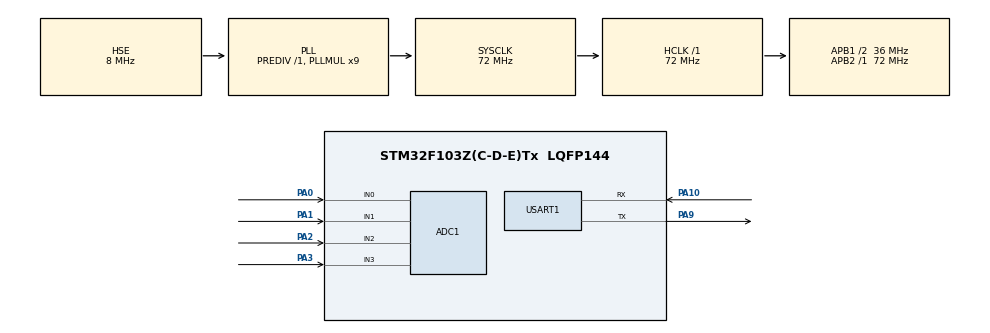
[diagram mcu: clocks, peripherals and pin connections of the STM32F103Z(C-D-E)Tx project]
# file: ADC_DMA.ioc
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ADC1.Channel-0\#ChannelRegularConversion=ADC_CHANNEL_0
ADC1.Channel-1\#ChannelRegularConversion=ADC_CHANNEL_1
ADC1.Channel-2\#ChannelRegularConversion=ADC_CHANNEL_2
ADC1.Channel-3\#ChannelRegularConversion=ADC_CHANNEL_3
ADC1.ContinuousConvMode=DISABLE
ADC1.DiscontinuousConvMode=DISABLE
ADC1.EnableAnalogWatchDog=false
ADC1.NbrOfConversion=4
ADC1.NbrOfConversionFlag=1
ADC1.Rank-0\#ChannelRegularConversion=1
ADC1.Rank-1\#ChannelRegularConversion=2
ADC1.Rank-2\#ChannelRegularConversion=3
ADC1.Rank-3\#ChannelRegularConversion=4
ADC1.SamplingTime-0\#ChannelRegularConversion=ADC_SAMPLETIME_55CYCLES_5
ADC1.SamplingTime-1\#ChannelRegularConversion=ADC_SAMPLETIME_55CYCLES_5
ADC1.SamplingTime-2\#ChannelRegularConversion=ADC_SAMPLETIME_55CYCLES_5
ADC1.SamplingTime-3\#ChannelRegularConversion=ADC_SAMPLETIME_55CYCLES_5
ADC1.master=1
Dma.ADC1.0.Direction=DMA_PERIPH_TO_MEMORY
Dma.ADC1.0.Instance=DMA1_Channel1
Dma.ADC1.0.MemDataAlignment=DMA_MDATAALIGN_HALFWORD
Dma.ADC1.0.MemInc=DMA_MINC_ENABLE
Dma.ADC1.0.Mode=DMA_CIRCULAR
Dma.ADC1.0.PeriphDataAlignment=DMA_PDATAALIGN_HALFWORD
Dma.ADC1.0.PeriphInc=DMA_PINC_DISABLE
Dma.ADC1.0.Priority=DMA_PRIORITY_MEDIUM
Dma.Request0=ADC1
FREERTOS.Tasks01=defaultTask,0,128,StartDefaultTask,Default,NULL,Dynamic,NULL,NULL
Mcu.Family=STM32F1
Mcu.Name=STM32F103Z(C-D-E)Tx
Mcu.Package=LQFP144
NVIC.DMA1_Channel1_IRQn=true\:5\:0\:false\:false\:true\:true\:false\:true
NVIC.PriorityGroup=NVIC_PRIORITYGROUP_4
NVIC.TIM1_UP_IRQn=true\:15\:0\:false\:false\:true\:false\:false\:true
NVIC.TimeBase=TIM1_UP_IRQn
NVIC.TimeBaseIP=TIM1
OSC_IN.Mode=HSE-External-Oscillator
OSC_IN.Signal=RCC_OSC_IN
OSC_OUT.Mode=HSE-External-Oscillator
OSC_OUT.Signal=RCC_OSC_OUT
PA0-WKUP.Signal=ADCx_IN0
PA1.Signal=ADCx_IN1
PA10.Mode=Asynchronous
PA10.Signal=USART1_RX
PA13.Mode=Serial_Wire
PA13.Signal=SYS_JTMS-SWDIO
PA14.Mode=Serial_Wire
PA14.Signal=SYS_JTCK-SWCLK
PA2.Signal=ADCx_IN2
PA3.Signal=ADCx_IN3
PA9.Mode=Asynchronous
PA9.Signal=USART1_TX
ProjectManager.HeapSize=0x200
ProjectManager.StackSize=0x400
ProjectManager.TargetToolchain=MDK-ARM V5.32
RCC.ADCPresc=RCC_ADCPCLK2_DIV6
RCC.AHBFreq_Value=72000000
RCC.APB1CLKDivider=RCC_HCLK_DIV2
RCC.APB1Freq_Value=36000000
RCC.APB1TimFreq_Value=72000000
RCC.APB2Freq_Value=72000000
RCC.APB2TimFreq_Value=72000000
RCC.HCLKFreq_Value=72000000
RCC.PLLMUL=RCC_PLL_MUL9
RCC.PLLSourceVirtual=RCC_PLLSOURCE_HSE
RCC.SYSCLKFreq_VALUE=72000000
RCC.SYSCLKSource=RCC_SYSCLKSOURCE_PLLCLK
RCC.USBFreq_Value=72000000
SH.ADCx_IN0.0=ADC1_IN0,IN0
SH.ADCx_IN1.0=ADC1_IN1,IN1
SH.ADCx_IN2.0=ADC1_IN2,IN2
SH.ADCx_IN3.0=ADC1_IN3,IN3
USART1.VirtualMode=VM_ASYNC
VP_FREERTOS_VS_CMSIS_V1.Mode=CMSIS_V1
VP_SYS_VS_tim1.Mode=TIM1
board=custom

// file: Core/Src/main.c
/* USER CODE BEGIN Header */
/**
  ******************************************************************************
  * @file           : main.c 采用的是ADC DMA单通道轮循的方式,一次采集1024个点的电压值
  * @brief          : Main program body
  ******************************************************************************
  * @attention
  *
  * Copyright (c) 2023 STMicroelectronics.
  * All rights reserved.
  *
  * This software is licensed under terms that can be found in the LICENSE file
  * in the root directory of this software component.
  * If no LICENSE file comes with this software, it is provided AS-IS.
  *
  ******************************************************************************
  */
/* USER CODE END Header */
#include "main.h"
#include "cmsis_os.h"

void SystemClock_Config(void);
void MX_FREERTOS_Init(void);
/* USER CODE BEGIN PFP */
extern uint16_t adcx[];
/* USER CODE END PFP */

int main(void)
{

  /* MCU Configuration--------------------------------------------------------*/

  /* Reset of all peripherals, Initializes the Flash interface and the Systick. */
  HAL_Init();

  /* Configure the system clock */
  SystemClock_Config();

  /* Initialize all configured peripherals */
  MX_GPIO_Init();
  MX_DMA_Init();
  MX_ADC1_Init();
  MX_USART1_UART_Init();
  /* USER CODE BEGIN 2 */
	HAL_ADCEx_Calibration_Start(&hadc1);//开启自动校准
	HAL_Delay(100);
	HAL_ADC_Start_DMA(&hadc1,(uint32_t*)adcx,4);
	my_printf(1,"  ok\r\n");

  /* USER CODE END 2 */

  /* Call init function for freertos objects (in freertos.c) */
  MX_FREERTOS_Init();
  /* Start scheduler */
  osKernelStart();

  /* We should never get here as control is now taken by the scheduler */
  /* Infinite loop */
  while (1)
  {
  }
}

void SystemClock_Config(void)
{
  RCC_OscInitTypeDef RCC_OscInitStruct = {0};
  RCC_ClkInitTypeDef RCC_ClkInitStruct = {0};
  RCC_PeriphCLKInitTypeDef PeriphClkInit = {0};

  /** Initializes the RCC Oscillators according to the specified parameters
  * in the RCC_OscInitTypeDef structure.
  */
  RCC_OscInitStruct.OscillatorType = RCC_OSCILLATORTYPE_HSE;
  RCC_OscInitStruct.HSEState = RCC_HSE_ON;
  RCC_OscInitStruct.HSEPredivValue = RCC_HSE_PREDIV_DIV1;
  RCC_OscInitStruct.HSIState = RCC_HSI_ON;
  RCC_OscInitStruct.PLL.PLLState = RCC_PLL_ON;
  RCC_OscInitStruct.PLL.PLLSource = RCC_PLLSOURCE_HSE;
  RCC_OscInitStruct.PLL.PLLMUL = RCC_PLL_MUL9;
  if (HAL_RCC_OscConfig(&RCC_OscInitStruct) != HAL_OK)
  {
    Error_Handler();
  }
  /** Initializes the CPU, AHB and APB buses clocks
  */
  RCC_ClkInitStruct.ClockType = RCC_CLOCKTYPE_HCLK|RCC_CLOCKTYPE_SYSCLK
                              |RCC_CLOCKTYPE_PCLK1|RCC_CLOCKTYPE_PCLK2;
  RCC_ClkInitStruct.SYSCLKSource = RCC_SYSCLKSOURCE_PLLCLK;
  RCC_ClkInitStruct.AHBCLKDivider = RCC_SYSCLK_DIV1;
  RCC_ClkInitStruct.APB1CLKDivider = RCC_HCLK_DIV2;
  RCC_ClkInitStruct.APB2CLKDivider = RCC_HCLK_DIV1;

  if (HAL_RCC_ClockConfig(&RCC_ClkInitStruct, FLASH_LATENCY_2) != HAL_OK)
  {
    Error_Handler();
  }
  PeriphClkInit.PeriphClockSelection = RCC_PERIPHCLK_ADC;
  PeriphClkInit.AdcClockSelection = RCC_ADCPCLK2_DIV6;
  if (HAL_RCCEx_PeriphCLKConfig(&PeriphClkInit) != HAL_OK)
  {
    Error_Handler();
  }
}

void HAL_TIM_PeriodElapsedCallback(TIM_HandleTypeDef *htim)
{
  if (htim->Instance == TIM1) {
    HAL_IncTick();
  }
}

void Error_Handler(void)
{
  __disable_irq();
  while (1)
  {
  }
}

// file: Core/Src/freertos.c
/* USER CODE BEGIN Header */
/**
  ******************************************************************************
  * File Name          : freertos.c
  * Description        : Code for freertos applications
  ******************************************************************************
  * @attention
  *
  * Copyright (c) 2023 STMicroelectronics.
  * All rights reserved.
  *
  * This software is licensed under terms that can be found in the LICENSE file
  * in the root directory of this software component.
  * If no LICENSE file comes with this software, it is provided AS-IS.
  *
  ******************************************************************************
  */
/* USER CODE END Header */

#include "FreeRTOS.h"
#include "task.h"
#include "main.h"
#include "cmsis_os.h"

/* USER CODE BEGIN PM */
#define NPT 4
uint16_t adc_Value;
uint16_t adcx[NPT];
uint8_t adc_flag=0;

/* USER CODE END PM */

osThreadId defaultTaskHandle;

void StartDefaultTask(void const * argument);

void MX_FREERTOS_Init(void); /* (MISRA C 2004 rule 8.1) */

/* GetIdleTaskMemory prototype (linked to static allocation support) */
void vApplicationGetIdleTaskMemory( StaticTask_t **ppxIdleTaskTCBBuffer, StackType_t **ppxIdleTaskStackBuffer, uint32_t *pulIdleTaskStackSize );

/* USER CODE BEGIN GET_IDLE_TASK_MEMORY */
static StaticTask_t xIdleTaskTCBBuffer;
static StackType_t xIdleStack[configMINIMAL_STACK_SIZE];

void vApplicationGetIdleTaskMemory( StaticTask_t **ppxIdleTaskTCBBuffer, StackType_t **ppxIdleTaskStackBuffer, uint32_t *pulIdleTaskStackSize )
{
  *ppxIdleTaskTCBBuffer = &xIdleTaskTCBBuffer;
  *ppxIdleTaskStackBuffer = &xIdleStack[0];
  *pulIdleTaskStackSize = configMINIMAL_STACK_SIZE;
  /* place for user code */
}
/* USER CODE END GET_IDLE_TASK_MEMORY */

void MX_FREERTOS_Init(void) {

  /* Create the thread(s) */
  /* definition and creation of defaultTask */
  osThreadDef(defaultTask, StartDefaultTask, osPriorityNormal, 0, 128);
  defaultTaskHandle = osThreadCreate(osThread(defaultTask), NULL);

}

void StartDefaultTask(void const * argument)
{
  /* USER CODE BEGIN StartDefaultTask */
  /* Infinite loop */
  for(;;)
  {
		if(adc_flag==1)
		{
			adc_flag=0;
			HAL_Delay(100);
			HAL_ADC_Start_DMA(&hadc1,(uint32_t*)adcx,4);
		}
    osDelay(1);
  }
  /* USER CODE END StartDefaultTask */
}

/* USER CODE BEGIN Application */
void HAL_ADC_ConvCpltCallback(ADC_HandleTypeDef* hadc)
{
	adc_flag=1;
	my_printf(1,"%d\t %d\t %d\t %d\t\r\n",adcx[0],adcx[1],adcx[2],adcx[3]);
	HAL_ADC_Stop_DMA(&hadc1);

}

/* USER CODE END Application */
